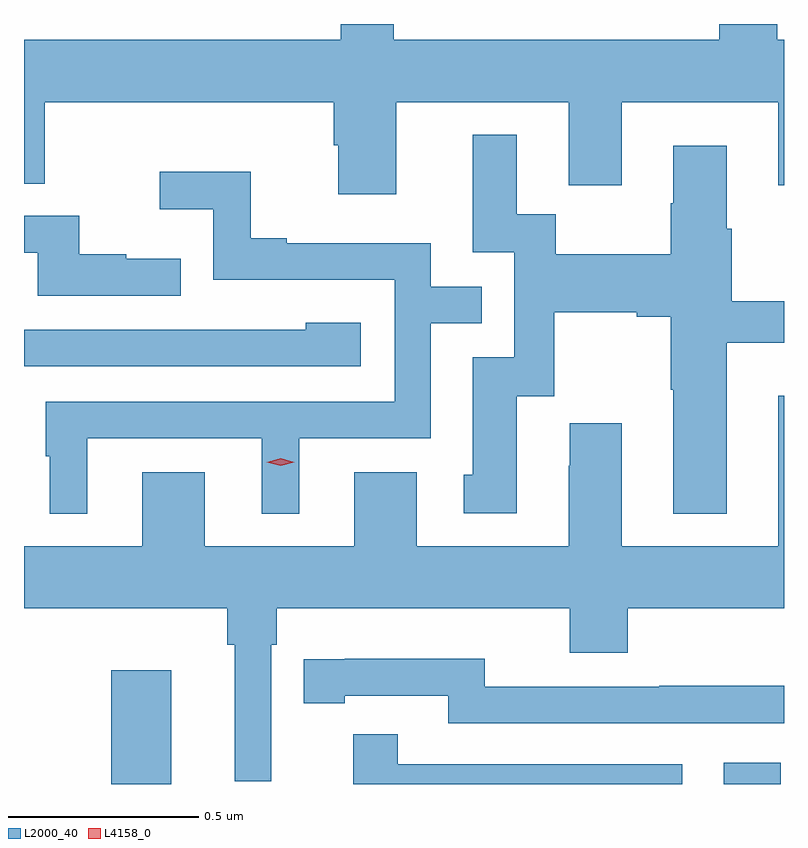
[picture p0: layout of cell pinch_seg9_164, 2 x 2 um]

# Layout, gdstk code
import gdstk
lib = gdstk.Library(unit=1e-6, precision=1e-09)
def R(c, l, rs):  # rectangles x0, y0, x1, y1
    for r in rs: c.add(gdstk.rectangle(r[:2], r[2:], *l))
def P(c, l, *ps):  # polygons
    for p in ps: c.add(gdstk.Polygon(p, *l))
L2000_40 = (2000, 40)
L4158_0 = (4158, 0)

pinch_seg9_164 = lib.new_cell('pinch_seg9_164')
R(pinch_seg9_164, L2000_40, [(660.188,1185.302,660.346,1185.601), (661.8,1185.302,661.95,1185.358)])
P(pinch_seg9_164, L2000_40, [(660.937,1187.096),(661.391,1187.096),(661.391,1186.878),(661.531,1186.878),(661.531,1187.096),(661.943,1187.096),(661.943,1186.878),(661.958,1186.878),(661.958,1187.26),(661.94,1187.26),(661.94,1187.302),(661.787,1187.302),(661.787,1187.26),(660.931,1187.26),(660.931,1187.302),(660.792,1187.302),(660.792,1187.26),(659.958,1187.26),(659.958,1186.882),(660.013,1186.882),(660.013,1187.096),(660.773,1187.096),(660.773,1186.983),(660.785,1186.983),(660.785,1186.854),(660.937,1186.854)],
  [(661.807,1186.463),(661.958,1186.463),(661.958,1186.573),(661.82,1186.573),(661.82,1186.763),(661.807,1186.763),(661.807,1186.981),(661.667,1186.981),(661.667,1186.83),(661.66,1186.83),(661.66,1186.696),(661.357,1186.696),(661.357,1186.802),(661.255,1186.802),(661.255,1187.011),(661.139,1187.011),(661.139,1186.701),(661.248,1186.701),(661.248,1186.425),(661.139,1186.425),(661.139,1186.116),(661.115,1186.116),(661.115,1186.014),(661.255,1186.014),(661.255,1186.322),(661.353,1186.322),(661.353,1186.544),(661.571,1186.544),(661.571,1186.532),(661.66,1186.532),(661.66,1186.339),(661.667,1186.339),(661.667,1186.013),(661.807,1186.013)],
  [(660.124,1186.212),(660.584,1186.212),(660.584,1186.013),(660.682,1186.013),(660.682,1186.212),(661.029,1186.212),(661.029,1186.515),(661.163,1186.515),(661.163,1186.611),(661.029,1186.611),(661.029,1186.725),(660.649,1186.725),(660.649,1186.738),(660.555,1186.738),(660.555,1186.913),(660.315,1186.913),(660.315,1186.814),(660.456,1186.814),(660.456,1186.629),(660.933,1186.629),(660.933,1186.308),(660.015,1186.308),(660.015,1186.164),(660.026,1186.164),(660.026,1186.013),(660.124,1186.013)],
  [(660.371,1186.684),(660.227,1186.684),(660.227,1186.696),(660.104,1186.696),(660.104,1186.797),(659.958,1186.797),(659.958,1186.7),(659.994,1186.7),(659.994,1186.587),(660.371,1186.587)],
  [(660.844,1186.516),(660.699,1186.516),(660.699,1186.498),(660.463,1186.498),(660.463,1186.497),(659.958,1186.497),(659.958,1186.401),(660.844,1186.401)],
  [(660.609,1185.668),(660.623,1185.668),(660.623,1185.764),(661.394,1185.764),(661.394,1185.647),(661.547,1185.647),(661.547,1185.764),(661.958,1185.764),(661.958,1186.324),(661.943,1186.324),(661.943,1185.928),(661.531,1185.928),(661.531,1186.252),(661.394,1186.252),(661.394,1186.139),(661.391,1186.139),(661.391,1185.928),(660.991,1185.928),(660.991,1186.123),(660.827,1186.123),(660.827,1185.928),(660.433,1185.928),(660.433,1186.123),(660.269,1186.123),(660.269,1185.928),(659.958,1185.928),(659.958,1185.764),(660.493,1185.764),(660.493,1185.668),(660.512,1185.668),(660.512,1185.309),(660.609,1185.309)],
  [(661.958,1185.56),(661.63,1185.56),(661.63,1185.558),(661.17,1185.558),(661.17,1185.631),(660.802,1185.631),(660.802,1185.63),(660.694,1185.63),(660.694,1185.514),(660.802,1185.514),(660.802,1185.534),(661.074,1185.534),(661.074,1185.462),(661.958,1185.462)],
  [(661.69,1185.354),(660.941,1185.354),(660.941,1185.433),(660.824,1185.433),(660.824,1185.302),(661.69,1185.302)])
P(pinch_seg9_164, L4158_0, [(660.633,1186.139),(660.597,1186.149),(660.597,1186.149),(660.597,1186.149),(660.633,1186.159),(660.669,1186.149),(660.669,1186.149),(660.669,1186.149)])

lib.write_gds('pinch_seg9_164.gds')
